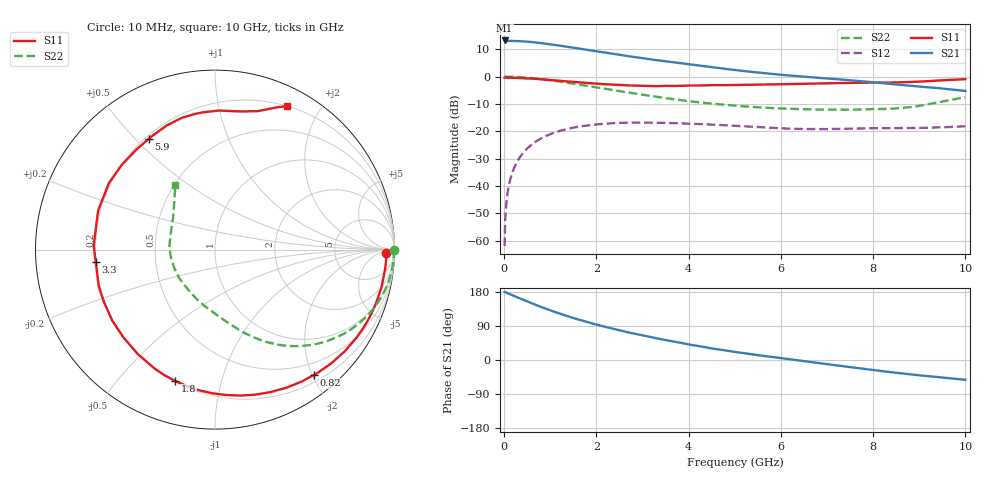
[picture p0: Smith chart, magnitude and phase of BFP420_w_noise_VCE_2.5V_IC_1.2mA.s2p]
! Infineon Technologies  Discrete & RF Semiconductors
! BFP420
! VCE =  2.5 V,  IC =  1.2 mA
! Common Emitter S-Parameters:  Jan 2016
# GHz  S  MA  R  50
!  f  S11  S21  S12  S22
! GHz  MAG  ANG  MAG  ANG  MAG  ANG  MAG  ANG
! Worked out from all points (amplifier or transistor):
!   233 points, 10 MHz to 10 GHz, reference 50 ohm
!   highest |S21| = 13.2 dB at 10 MHz (marker M1)
!   |S21| within 3 dB of that: start of sweep to 1.638 GHz
!   unconditionally stable (mu >= 1): 4.216 GHz to end of sweep
!   at 200 MHz: K = 0.02, MSG = 23.5 dB, |S12| = -34.1 dB
!   at 1.74 GHz: K = 0.30, MSG = 13.9 dB, |S12| = -18.0 dB
!   at 10 GHz: K = 1.30, MAG = 3.1 dB, |S12| = -18.2 dB
!   lowest NFmin = 0.53 dB at 900 MHz
!   S11 on the Smith chart (normalised r, x): 10 MHz: 36, -14; 820 MHz: 0.30, -2.03; 1.8 GHz: 0.20, -0.72; 3.3 GHz: 0.20, -0.05; 5.9 GHz: 0.21, +0.55; 10 GHz: 0.20, +1.60
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0.01  0.9531 -1.1  4.563 179.4  0.0008 64.7  0.9968 0.0
0.02  0.9555 -1.2  4.416 179.4  0.002 88.4  0.9968 -0.6
0.05  0.9555 -3.4  4.445 177.4  0.005 89.3  0.9972 -1.7
0.1  0.9542 -6.5  4.474 174.9  0.01 86.2  0.996 -3.6
0.17  0.9509 -10.8  4.471 171.4  0.0169 83.4  0.9924 -6.1
0.3  0.945 -19.1  4.443 164.6  0.0297 78.8  0.9825 -10.7
0.5  0.9289 -31.8  4.339 154.5  0.0486 71.2  0.9564 -17.6
0.82  0.8896 -51.7  4.066 139.1  0.0757 59.3  0.8959 -27.9
1  0.8661 -62.7  3.892 130.9  0.0889 53.2  0.8562 -33.3
1.2  0.839 -74.4  3.676 122.5  0.1015 46.7  0.8097 -38.8
1.68  0.7775 -100.8  3.189 104.2  0.1241 32.9  0.7013 -50.1
1.8  0.7646 -106.9  3.069 100.1  0.128 29.8  0.6763 -52.5
2.2  0.7237 -126.5  2.726 87.2  0.1383 20.3  0.5972 -60.1
2.6  0.6959 -145.4  2.427 75.4  0.1436 11.7  0.5264 -67.0
3.3  0.6681 -174.1  1.997 57.8  0.1432 -0.2  0.4279 -77.9
3.4  0.6706 -178.0  1.948 55.2  0.1429 -1.7  0.4156 -79.7
4  0.6864 161.6  1.682 41.1  0.1388 -9.4  0.3556 -90.2
5.1  0.7021 135.6  1.288 19.7  0.1247 -18.7  0.2904 -111.6
5.9  0.7191 120.8  1.098 6.6  0.1143 -21.2  0.2635 -128.6
6.8  0.7497 106.9  0.951 -7.8  0.11 -20.7  0.2499 -149.7
8.4  0.7789 81.7  0.729 -32.3  0.1142 -22.2  0.2593 163.6
10  0.8955 63.3  0.546 -52.4  0.1237 -22.7  0.4211 121.8
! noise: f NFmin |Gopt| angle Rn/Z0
0.9  0.53  0.62  33  0.31
1.8  1.1  0.4  77  0.24
2.4  1.23  0.41  100  0.2
3  1.51  0.41  132  0.14
4  1.8  0.44  -175  0.09
5  2.23  0.45  -132  0.38
6  3.18  0.57  -116  0.44
